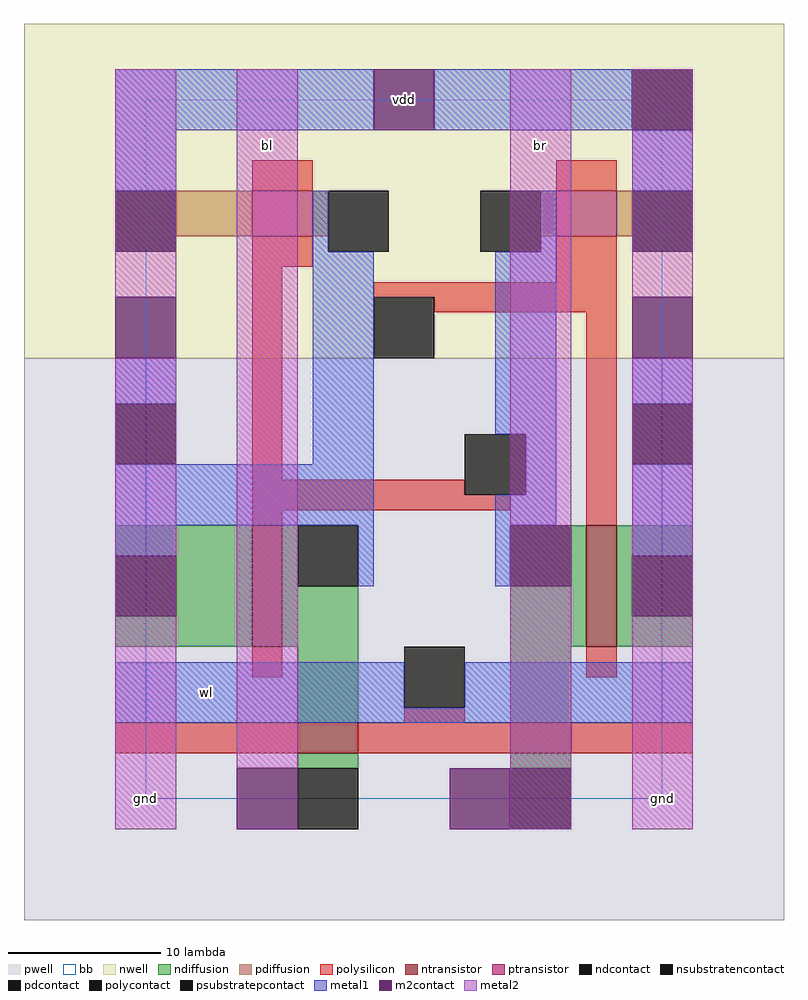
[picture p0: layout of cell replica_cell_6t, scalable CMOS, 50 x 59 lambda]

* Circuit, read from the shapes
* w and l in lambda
.subckt replica_cell_6t bl br gnd vdd wl
M1 gnd n1 gnd gnd nfet w=8 l=2
M2 gnd wl bl gnd nfet w=4 l=2
M3 n1 wl br gnd nfet w=4 l=2
M4 gnd gnd n1 gnd nfet w=8 l=2
M5 gnd n1 vdd vdd pfet w=3 l=4
M6 vdd gnd n1 vdd pfet w=3 l=4
.ends

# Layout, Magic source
magic
tech scmos
<< nwell >>
rect -8 29 42 51
<< pwell >>
rect -8 -8 42 29
<< ntransistor >>
rect 7 10 9 18
rect 29 10 31 18
rect 10 3 14 5
rect 24 3 28 5
<< ptransistor >>
rect 7 37 11 40
rect 27 37 31 40
<< ndiffusion >>
rect -2 16 7 18
rect 2 12 7 16
rect -2 10 7 12
rect 9 14 10 18
rect 9 10 14 14
rect 28 14 29 18
rect 24 10 29 14
rect 31 16 36 18
rect 31 12 32 16
rect 31 10 36 12
rect 10 5 14 10
rect 24 5 28 10
rect 10 2 14 3
rect 24 2 28 3
<< pdiffusion >>
rect 2 37 7 40
rect 11 37 12 40
rect 26 37 27 40
rect 31 37 32 40
<< ndcontact >>
rect -2 12 2 16
rect 10 14 14 18
rect 24 14 28 18
rect 32 12 36 16
rect 10 -2 14 2
rect 24 -2 28 2
<< pdcontact >>
rect -2 36 2 40
rect 12 36 16 40
rect 22 36 26 40
rect 32 36 36 40
<< psubstratepcontact >>
rect -2 22 2 26
rect 32 22 36 26
<< nsubstratencontact >>
rect 32 44 36 48
<< polysilicon >>
rect 7 40 11 42
rect 27 40 31 42
rect 7 35 11 37
rect 7 21 9 35
rect 27 34 31 37
rect 15 33 31 34
rect 19 32 31 33
rect 7 20 21 21
rect 7 19 24 20
rect 7 18 9 19
rect 29 18 31 32
rect 7 8 9 10
rect 17 5 21 6
rect 29 8 31 10
rect -2 3 10 5
rect 14 3 24 5
rect 28 3 36 5
<< polycontact >>
rect 15 29 19 33
rect 21 20 25 24
rect 17 6 21 10
<< metal1 >>
rect -2 44 15 48
rect 19 44 32 48
rect -2 40 2 44
rect 32 40 36 44
rect 11 36 12 40
rect 26 36 27 40
rect -2 26 2 29
rect 11 22 15 36
rect 23 24 27 36
rect -2 18 15 22
rect 25 20 27 24
rect -2 16 2 18
rect 14 14 15 18
rect 23 18 27 20
rect 32 26 36 29
rect 23 14 24 18
rect 32 16 36 22
rect -2 6 17 9
rect 21 6 36 9
rect -2 5 36 6
<< m2contact >>
rect 15 44 19 48
rect -2 29 2 33
rect 32 29 36 33
rect 6 -2 10 2
rect 20 -2 24 2
<< metal2 >>
rect -2 33 2 48
rect -2 -2 2 29
rect 6 2 10 48
rect 24 -2 28 48
rect 32 33 36 48
rect 32 -2 36 29
<< bb >>
rect 0 0 34 46
<< labels >>
rlabel metal2 0 0 0 0 1 gnd
rlabel metal2 34 0 34 0 1 gnd
rlabel m2contact 17 46 17 46 5 vdd
rlabel metal2 8 43 8 43 1 bl
rlabel metal2 26 43 26 43 1 br
rlabel metal1 4 7 4 7 1 wl
<< end >>
